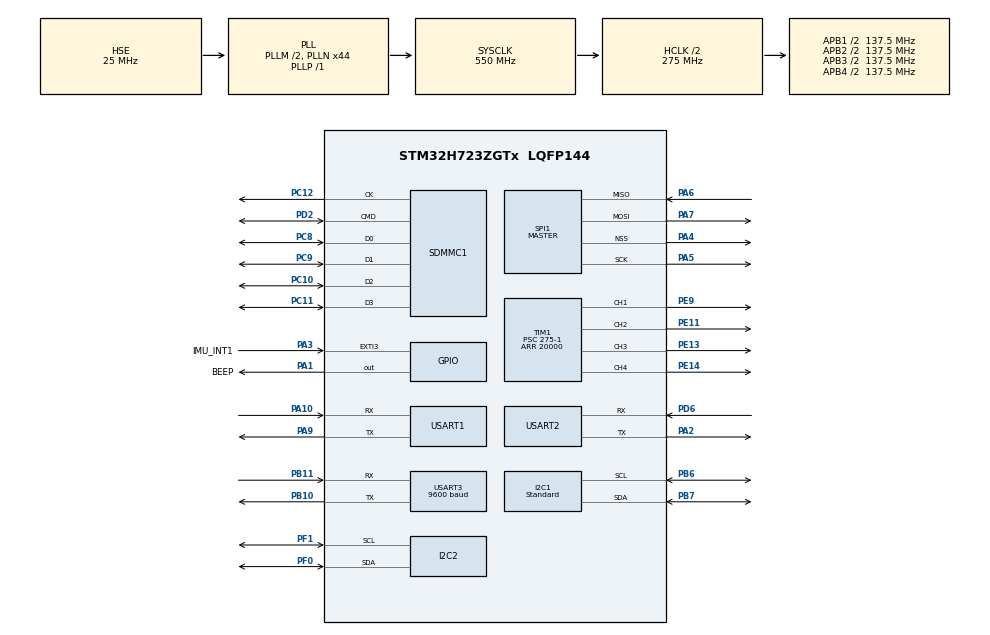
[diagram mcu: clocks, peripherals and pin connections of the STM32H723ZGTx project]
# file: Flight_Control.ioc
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CORTEX_M7.Enable_Spec=__NULL
CORTEX_M7.MPU_Control=__NULL
CORTEX_M7.default_mode_Activation=1
Dma.Request0=USART2_RX
Dma.Request1=USART3_RX
Dma.USART2_RX.0.Direction=DMA_PERIPH_TO_MEMORY
Dma.USART2_RX.0.EventEnable=DISABLE
Dma.USART2_RX.0.FIFOMode=DMA_FIFOMODE_DISABLE
Dma.USART2_RX.0.Instance=DMA1_Stream0
Dma.USART2_RX.0.MemDataAlignment=DMA_MDATAALIGN_BYTE
Dma.USART2_RX.0.MemInc=DMA_MINC_ENABLE
Dma.USART2_RX.0.Mode=DMA_NORMAL
Dma.USART2_RX.0.PeriphDataAlignment=DMA_PDATAALIGN_BYTE
Dma.USART2_RX.0.PeriphInc=DMA_PINC_DISABLE
Dma.USART2_RX.0.Polarity=HAL_DMAMUX_REQ_GEN_RISING
Dma.USART2_RX.0.Priority=DMA_PRIORITY_HIGH
Dma.USART2_RX.0.RequestNumber=1
Dma.USART2_RX.0.SignalID=NONE
Dma.USART2_RX.0.SyncEnable=DISABLE
Dma.USART2_RX.0.SyncPolarity=HAL_DMAMUX_SYNC_NO_EVENT
Dma.USART2_RX.0.SyncRequestNumber=1
Dma.USART2_RX.0.SyncSignalID=NONE
Dma.USART3_RX.1.Direction=DMA_PERIPH_TO_MEMORY
Dma.USART3_RX.1.EventEnable=DISABLE
Dma.USART3_RX.1.FIFOMode=DMA_FIFOMODE_DISABLE
Dma.USART3_RX.1.Instance=DMA1_Stream1
Dma.USART3_RX.1.MemDataAlignment=DMA_MDATAALIGN_BYTE
Dma.USART3_RX.1.MemInc=DMA_MINC_ENABLE
Dma.USART3_RX.1.Mode=DMA_NORMAL
Dma.USART3_RX.1.PeriphDataAlignment=DMA_PDATAALIGN_BYTE
Dma.USART3_RX.1.PeriphInc=DMA_PINC_DISABLE
Dma.USART3_RX.1.Polarity=HAL_DMAMUX_REQ_GEN_RISING
Dma.USART3_RX.1.Priority=DMA_PRIORITY_LOW
Dma.USART3_RX.1.RequestNumber=1
Dma.USART3_RX.1.SignalID=NONE
Dma.USART3_RX.1.SyncEnable=DISABLE
Dma.USART3_RX.1.SyncPolarity=HAL_DMAMUX_SYNC_NO_EVENT
Dma.USART3_RX.1.SyncRequestNumber=1
Dma.USART3_RX.1.SyncSignalID=NONE
FATFS._CODE_PAGE=936
FREERTOS.Tasks01=Task_Imu_Rd,48,1024,Imu_Read,Default,NULL,Dynamic,NULL,NULL;Task_Sen_Rd,24,1024,Sen_Read,Default,NULL,Dynamic,NULL,NULL;Task_Pos_Est,32,1536,Pos_Estimate,Default,NULL,Dynamic,NULL,NULL;Task_Att_Ctrl,40,2048,Att_Control,Default,NULL,Dynamic,NULL,NULL;Task_Rc_Parse,24,768,Rc_Parse,Default,NULL,Dynamic,NULL,NULL;Task_Log_Wrt,8,2048,Log_Write,Default,NULL,Dynamic,NULL,NULL;Task_Sys_Obs,8,512,Sys_Observe,Default,NULL,Dynamic,NULL,NULL
FREERTOS.configENABLE_FPU=1
FREERTOS.configTOTAL_HEAP_SIZE=65536
I2C1.CustomTiming=Enabled
I2C1.I2C_Speed_Mode=I2C_Standard
I2C1.Timing=0x602173
I2C2.CustomTiming=Enabled
I2C2.Timing=0x10707dbc
IWDG1.Prescaler=IWDG_PRESCALER_64
IWDG1.Reload=250
Mcu.Family=STM32H7
Mcu.Name=STM32H723ZGTx
Mcu.Package=LQFP144
NVIC.DMA1_Stream0_IRQn=true\:5\:0\:false\:false\:true\:true\:false\:true\:true
NVIC.DMA1_Stream1_IRQn=true\:5\:0\:false\:false\:true\:true\:false\:true\:true
NVIC.EXTI3_IRQn=true\:5\:0\:false\:false\:true\:true\:true\:true\:true
NVIC.PriorityGroup=NVIC_PRIORITYGROUP_4
NVIC.TIM7_IRQn=true\:15\:0\:false\:false\:true\:false\:false\:true\:true
NVIC.TimeBase=TIM7_IRQn
NVIC.TimeBaseIP=TIM7
NVIC.USART2_IRQn=true\:5\:0\:false\:false\:true\:true\:true\:true\:true
NVIC.USART3_IRQn=true\:5\:0\:false\:false\:true\:true\:true\:true\:true
PA1.GPIO_Label=BEEP
PA1.GPIO_PuPd=GPIO_PULLUP
PA1.Signal=GPIO_Output
PA10.Mode=Asynchronous
PA10.Signal=USART1_RX
PA13(JTMS/SWDIO).Mode=Serial_Wire
PA13(JTMS/SWDIO).Signal=DEBUG_JTMS-SWDIO
PA14(JTCK/SWCLK).Mode=Serial_Wire
PA14(JTCK/SWCLK).Signal=DEBUG_JTCK-SWCLK
PA2.Mode=Asynchronous
PA2.Signal=USART2_TX
PA3.GPIO_Label=IMU_INT1
PA3.Signal=GPXTI3
PA4.GPIO_Speed=GPIO_SPEED_FREQ_LOW
PA4.Mode=NSS_Signal_Hard_Output
PA4.Signal=SPI1_NSS
PA5.GPIO_Speed=GPIO_SPEED_FREQ_LOW
PA5.Mode=Full_Duplex_Master
PA5.Signal=SPI1_SCK
PA6.GPIO_Speed=GPIO_SPEED_FREQ_LOW
PA6.Mode=Full_Duplex_Master
PA6.Signal=SPI1_MISO
PA7.GPIO_Speed=GPIO_SPEED_FREQ_LOW
PA7.Mode=Full_Duplex_Master
PA7.Signal=SPI1_MOSI
PA9.Mode=Asynchronous
PA9.Signal=USART1_TX
PB10.Mode=Asynchronous
PB10.Signal=USART3_TX
PB11.Mode=Asynchronous
PB11.Signal=USART3_RX
PB6.GPIO_Pu=GPIO_PULLUP
PB6.GPIO_Speed=GPIO_SPEED_FREQ_VERY_HIGH
PB6.Mode=I2C
PB6.Signal=I2C1_SCL
PB7.GPIO_Pu=GPIO_PULLUP
PB7.GPIO_Speed=GPIO_SPEED_FREQ_VERY_HIGH
PB7.Mode=I2C
PB7.Signal=I2C1_SDA
PC10.Mode=SD_4_bits_Wide_bus
PC10.Signal=SDMMC1_D2
PC11.Mode=SD_4_bits_Wide_bus
PC11.Signal=SDMMC1_D3
PC12.Mode=SD_4_bits_Wide_bus
PC12.Signal=SDMMC1_CK
PC8.Mode=SD_4_bits_Wide_bus
PC8.Signal=SDMMC1_D0
PC9.Mode=SD_4_bits_Wide_bus
PC9.Signal=SDMMC1_D1
PD2.Mode=SD_4_bits_Wide_bus
PD2.Signal=SDMMC1_CMD
PD6.Mode=Asynchronous
PD6.Signal=USART2_RX
PE11.Signal=S_TIM1_CH2
PE13.Signal=S_TIM1_CH3
PE14.Signal=S_TIM1_CH4
PE9.Signal=S_TIM1_CH1
PF0.GPIO_Pu=GPIO_PULLUP
PF0.GPIO_Speed=GPIO_SPEED_FREQ_VERY_HIGH
PF0.Mode=I2C
PF0.Signal=I2C2_SDA
PF1.GPIO_Pu=GPIO_PULLUP
PF1.GPIO_Speed=GPIO_SPEED_FREQ_VERY_HIGH
PF1.Mode=I2C
PF1.Signal=I2C2_SCL
PH0-OSC_IN.Mode=HSE-External-Oscillator
PH0-OSC_IN.Signal=RCC_OSC_IN
PH1-OSC_OUT.Mode=HSE-External-Oscillator
PH1-OSC_OUT.Signal=RCC_OSC_OUT
ProjectManager.HeapSize=0x200
ProjectManager.StackSize=0x400
ProjectManager.TargetToolchain=CMake
RCC.ADCFreq_Value=50390625
RCC.APB1Freq_Value=137500000
RCC.APB2Freq_Value=137500000
RCC.APB3Freq_Value=137500000
RCC.APB4Freq_Value=137500000
RCC.CortexFreq_Value=550000000
RCC.D1PPRE=RCC_APB3_DIV2
RCC.D2PPRE1=RCC_APB1_DIV2
RCC.D2PPRE2=RCC_APB2_DIV2
RCC.D3PPRE=RCC_APB4_DIV2
RCC.DIVM1=2
RCC.DIVN1=44
RCC.DIVP1=1
RCC.DIVQ1=3
RCC.HCLKFreq_Value=275000000
RCC.HPRE=RCC_HCLK_DIV2
RCC.I2C123CLockSelection=RCC_I2C1235CLKSOURCE_HSI
RCC.PLLFRACN=0
RCC.PLLSourceVirtual=RCC_PLLSOURCE_HSE
RCC.SYSCLKFreq_VALUE=550000000
RCC.SYSCLKSource=RCC_SYSCLKSOURCE_PLLCLK
RCC.USBFreq_Value=183333333.33333334
SH.S_TIM1_CH1.0=TIM1_CH1,PWM Generation1 CH1
SH.S_TIM1_CH2.0=TIM1_CH2,PWM Generation2 CH2
SH.S_TIM1_CH3.0=TIM1_CH3,PWM Generation3 CH3
SH.S_TIM1_CH4.0=TIM1_CH4,PWM Generation4 CH4
SPI1.BaudRatePrescaler=SPI_BAUDRATEPRESCALER_16
SPI1.CalculateBaudRate=11.458333 MBits/s
SPI1.DataSize=SPI_DATASIZE_8BIT
SPI1.Direction=SPI_DIRECTION_2LINES
SPI1.Mode=SPI_MODE_MASTER
SPI1.NSSPMode=SPI_NSS_PULSE_DISABLE
SPI1.VirtualNSS=VM_NSSHARD
SPI1.VirtualType=VM_MASTER
TIM1.Channel-PWM\ Generation1\ CH1=TIM_CHANNEL_1
TIM1.Channel-PWM\ Generation2\ CH2=TIM_CHANNEL_2
TIM1.Channel-PWM\ Generation3\ CH3=TIM_CHANNEL_3
TIM1.Channel-PWM\ Generation4\ CH4=TIM_CHANNEL_4
TIM1.Period=20000
TIM1.Prescaler=275-1
TIM1.Pulse-PWM\ Generation1\ CH1=900
TIM1.Pulse-PWM\ Generation2\ CH2=900
TIM1.Pulse-PWM\ Generation3\ CH3=900
TIM1.Pulse-PWM\ Generation4\ CH4=900
USART1.VirtualMode-Asynchronous=VM_ASYNC
USART2.VirtualMode-Asynchronous=VM_ASYNC
USART3.BaudRate=9600
USART3.VirtualMode-Asynchronous=VM_ASYNC
VP_FATFS_VS_SDIO.Mode=SDIO
VP_FREERTOS_VS_CMSIS_V2.Mode=CMSIS_V2
VP_IWDG1_VS_IWDG.Mode=IWDG_Activate
VP_MEMORYMAP_VS_MEMORYMAP.Mode=CurAppReg
VP_SYS_VS_tim7.Mode=TIM7
VP_TIM1_VS_ClockSourceINT.Mode=Internal
board=custom

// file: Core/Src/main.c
/* USER CODE BEGIN Header */
/**
  ******************************************************************************
  * @file           : main.c
  * @brief          : Main program body
  ******************************************************************************
  * @attention
  *
  * Copyright (c) 2026 STMicroelectronics.
  * All rights reserved.
  *
  * This software is licensed under terms that can be found in the LICENSE file
  * in the root directory of this software component.
  * If no LICENSE file comes with this software, it is provided AS-IS.
  *
  ******************************************************************************
  */
/* USER CODE END Header */
#include "main.h"
#include "State.h"
#include "cmsis_os.h"
#include "dma.h"
#include "fatfs.h"
#include "i2c.h"
#include "iwdg.h"
#include "memorymap.h"
#include "sdmmc.h"
#include "spi.h"
#include "state.h"
#include "stm32h7xx_hal.h"
#include "tim.h"
#include "usart.h"
#include "gpio.h"

/* USER CODE BEGIN Includes */

#include "Config.h"
#include <stdio.h>

/* USER CODE END Includes */

/* USER CODE BEGIN PTD */

extern SemaphoreHandle_t xIMU_DataReady;
extern SemaphoreHandle_t xGPS_DataReady;
extern SemaphoreHandle_t xRC_DataReady;

/* USER CODE END PTD */

/* USER CODE BEGIN PV */

uint8_t RC_RxBuffer[36]   = {0};      //RC  DMA接收缓冲
uint8_t GPS_RxBuffer[256] = {0};      //GPS DMA接收缓冲

volatile uint16_t RC_RxLength  = 0;   //RC 本次接收长度
volatile uint16_t GPS_RxLength = 0;   //GPS本次接收长度

/* USER CODE END PV */

void SystemClock_Config(void);
void MX_FREERTOS_Init(void);

int main(void)
{

  /* MCU Configuration--------------------------------------------------------*/

  /* Reset of all peripherals, Initializes the Flash interface and the Systick. */
  HAL_Init();

  /* Configure the system clock */
  SystemClock_Config();

  /* Initialize all configured peripherals */
  MX_GPIO_Init();
  MX_DMA_Init();
  MX_IWDG1_Init();
  MX_SPI1_Init();
  MX_USART2_UART_Init();
  MX_SDMMC1_SD_Init();
  MX_TIM1_Init();
  MX_FATFS_Init();
  MX_USART1_UART_Init();
  MX_USART3_UART_Init();
  MX_I2C1_Init();
  MX_I2C2_Init();
  /* USER CODE BEGIN 2 */

  EvtBus_Init();
  Params_Init();    //初始化所有参数
  StateMachine_Init();

  //事件队列需在传感器初始化前创建，否则初始化期间发布的事件无法入队
  xEvent_Q = xQueueCreate(16,sizeof(evt_publish_t));

  RC_Init();
  IMU_Init();
  MAG_Init();
  BAR_Init();
  GPS_Init();
  PID_Init();
  Log_Init();
  Filter_Init(0.5f,0.01f);

  if(Log_Status.Ready)
  {
    Log_Open();
  }

  HAL_TIM_PWM_Start(&htim1,TIM_CHANNEL_1);
  HAL_TIM_PWM_Start(&htim1,TIM_CHANNEL_2);
  HAL_TIM_PWM_Start(&htim1,TIM_CHANNEL_3);
  HAL_TIM_PWM_Start(&htim1,TIM_CHANNEL_4);
  __HAL_TIM_MOE_ENABLE(&htim1);

  /* USER CODE END 2 */

  /* Init scheduler */
  osKernelInitialize();

  /* Call init function for freertos objects (in cmsis_os2.c) */
  MX_FREERTOS_Init();

  /* Start scheduler */
  osKernelStart();

  /* We should never get here as control is now taken by the scheduler */

  /* Infinite loop */
  while (1)
  {

  }
}

void SystemClock_Config(void)
{
  RCC_OscInitTypeDef RCC_OscInitStruct = {0};
  RCC_ClkInitTypeDef RCC_ClkInitStruct = {0};

  /** Supply configuration update enable
  */
  HAL_PWREx_ConfigSupply(PWR_LDO_SUPPLY);

  /** Configure the main internal regulator output voltage
  */
  __HAL_PWR_VOLTAGESCALING_CONFIG(PWR_REGULATOR_VOLTAGE_SCALE0);

  while(!__HAL_PWR_GET_FLAG(PWR_FLAG_VOSRDY)) {}

  /** Initializes the RCC Oscillators according to the specified parameters
  * in the RCC_OscInitTypeDef structure.
  */
  RCC_OscInitStruct.OscillatorType = RCC_OSCILLATORTYPE_HSI|RCC_OSCILLATORTYPE_LSI
                              |RCC_OSCILLATORTYPE_HSE;
  RCC_OscInitStruct.HSEState = RCC_HSE_ON;
  RCC_OscInitStruct.HSIState = RCC_HSI_DIV1;
  RCC_OscInitStruct.HSICalibrationValue = 64;
  RCC_OscInitStruct.LSIState = RCC_LSI_ON;
  RCC_OscInitStruct.PLL.PLLState = RCC_PLL_ON;
  RCC_OscInitStruct.PLL.PLLSource = RCC_PLLSOURCE_HSE;
  RCC_OscInitStruct.PLL.PLLM = 2;
  RCC_OscInitStruct.PLL.PLLN = 44;
  RCC_OscInitStruct.PLL.PLLP = 1;
  RCC_OscInitStruct.PLL.PLLQ = 3;
  RCC_OscInitStruct.PLL.PLLR = 2;
  RCC_OscInitStruct.PLL.PLLRGE = RCC_PLL1VCIRANGE_3;
  RCC_OscInitStruct.PLL.PLLVCOSEL = RCC_PLL1VCOWIDE;
  RCC_OscInitStruct.PLL.PLLFRACN = 0;
  if (HAL_RCC_OscConfig(&RCC_OscInitStruct) != HAL_OK)
  {
    Error_Handler();
  }

  /** Initializes the CPU, AHB and APB buses clocks
  */
  RCC_ClkInitStruct.ClockType = RCC_CLOCKTYPE_HCLK|RCC_CLOCKTYPE_SYSCLK
                              |RCC_CLOCKTYPE_PCLK1|RCC_CLOCKTYPE_PCLK2
                              |RCC_CLOCKTYPE_D3PCLK1|RCC_CLOCKTYPE_D1PCLK1;
  RCC_ClkInitStruct.SYSCLKSource = RCC_SYSCLKSOURCE_PLLCLK;
  RCC_ClkInitStruct.SYSCLKDivider = RCC_SYSCLK_DIV1;
  RCC_ClkInitStruct.AHBCLKDivider = RCC_HCLK_DIV2;
  RCC_ClkInitStruct.APB3CLKDivider = RCC_APB3_DIV2;
  RCC_ClkInitStruct.APB1CLKDivider = RCC_APB1_DIV2;
  RCC_ClkInitStruct.APB2CLKDivider = RCC_APB2_DIV2;
  RCC_ClkInitStruct.APB4CLKDivider = RCC_APB4_DIV2;

  if (HAL_RCC_ClockConfig(&RCC_ClkInitStruct, FLASH_LATENCY_3) != HAL_OK)
  {
    Error_Handler();
  }
}

/* USER CODE BEGIN 4 */

void HAL_UARTEx_RxEventCallback(UART_HandleTypeDef *huart,uint16_t Size)
{
	if(huart == &huart2)
	{
    RC_RxLength = Size;

		BaseType_t xHigherPriorityTaskWoken = pdFALSE;

    xSemaphoreGiveFromISR(xRC_DataReady,&xHigherPriorityTaskWoken);
    portYIELD_FROM_ISR(xHigherPriorityTaskWoken);
	}
  if(huart == &huart3)
	{
		GPS_RxLength = Size;

		BaseType_t xHigherPriorityTaskWoken = pdFALSE;

    xSemaphoreGiveFromISR(xGPS_DataReady,&xHigherPriorityTaskWoken);
    portYIELD_FROM_ISR(xHigherPriorityTaskWoken);
	}
}

void HAL_GPIO_EXTI_Callback(uint16_t GPIO_Pin)
{
	if(GPIO_Pin == IMU_INT1_Pin)
	{
		BaseType_t xHigherPriorityTaskWoken = pdFALSE;

		xSemaphoreGiveFromISR(xIMU_DataReady,&xHigherPriorityTaskWoken);
		portYIELD_FROM_ISR(xHigherPriorityTaskWoken);
	}
}

/* USER CODE END 4 */

void HAL_TIM_PeriodElapsedCallback(TIM_HandleTypeDef *htim)
{
  if (htim->Instance == TIM7) {
    HAL_IncTick();
  }
}

void Error_Handler(void)
{
  /* USER CODE BEGIN Error_Handler_Debug */
  /* User can add his own implementation to report the HAL error return state */
  __disable_irq();

  __HAL_TIM_SET_COMPARE(&htim1,TIM_CHANNEL_1,PWM_MIN);
  __HAL_TIM_SET_COMPARE(&htim1,TIM_CHANNEL_2,PWM_MIN);
  __HAL_TIM_SET_COMPARE(&htim1,TIM_CHANNEL_3,PWM_MIN);
  __HAL_TIM_SET_COMPARE(&htim1,TIM_CHANNEL_4,PWM_MIN);

  while (1)
  {
    /*ĺĽäšä¸ĺš˛ďźç­çĺŹ*/
  }
  /* USER CODE END Error_Handler_Debug */
}

#ifdef  USE_FULL_ASSERT
/**
  * @brief  Reports the name of the source file and the source line number
  *         where the assert_param error has occurred.
  * @param  file: pointer to the source file name
  * @param  line: assert_param error line source number
  * @retval None
  */
void assert_failed(uint8_t *file, uint32_t line)
{
  /* USER CODE BEGIN 6 */
  char msg[128];
  int n = snprintf(msg,sizeof(msg),"Assert failed: %s line %lu\r\n",file,(unsigned long)line);

  /* 通过USART1调试串口输出断言信息 */
  if(n > 0 && n < (int)sizeof(msg))
  {
    HAL_UART_Transmit(&huart1,(uint8_t*)msg,(uint16_t)n,HAL_MAX_DELAY);
  }

  /* 断言失败属于致命错误：强制电机停止并死循环等待复位 */
  __HAL_TIM_SET_COMPARE(&htim1,TIM_CHANNEL_1,PWM_MIN);
  __HAL_TIM_SET_COMPARE(&htim1,TIM_CHANNEL_2,PWM_MIN);
  __HAL_TIM_SET_COMPARE(&htim1,TIM_CHANNEL_3,PWM_MIN);
  __HAL_TIM_SET_COMPARE(&htim1,TIM_CHANNEL_4,PWM_MIN);

  __disable_irq();
  while (1)
  {
    /* 死循环，等待看门狗或人工复位 */
  }
  /* USER CODE END 6 */
}
#endif /* USE_FULL_ASSERT */

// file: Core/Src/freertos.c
/* USER CODE BEGIN Header */
/**
  ******************************************************************************
  * Author          : 王子恒
  * Description     : 飞控控制逻辑
  ******************************************************************************
**/
/* USER CODE END Header */

#include "FreeRTOS.h"
#include "EvtBus.h"
#include "State.h"
#include "projdefs.h"
#include "task.h"
#include "main.h"
#include "cmsis_os.h"

/* USER CODE BEGIN Includes */

#include "Config.h"

/* USER CODE END Includes */

/* USER CODE BEGIN PTD */

//数据就绪信号量
SemaphoreHandle_t xGPS_DataReady;
SemaphoreHandle_t xIMU_DataReady;
SemaphoreHandle_t xRC_DataReady;

//数据队列
QueueHandle_t     xLOG_DataQ;
QueueHandle_t     xGPS_DataQ;
QueueHandle_t     xIMU_DataQ;
QueueHandle_t     xMAG_DataQ;
QueueHandle_t     xBAR_DataQ;
QueueHandle_t     xRC_DataQ;

//事件队列
QueueHandle_t     xEvent_Q;

/* USER CODE END PTD */

/* USER CODE BEGIN Variables */

rc_raw_t RcRaw = {0};

float ThrottleOffset = 0;

//电机紧急停机标志（定义，Error.h中extern声明，由控制任务读取）
volatile uint8_t MotorStopCmd = 0;
//控制任务过载标志（供Sys_Observe监控复位）
volatile uint8_t ExecOverrun = 0;

//超时计数器
static uint16_t Rc_Timeout  = 0;
static uint16_t Gps_Timeout = 0;
static uint16_t Imu_Timeout = 0;
static uint16_t Mag_Timeout = 0;
static uint16_t Bar_Timeout = 0;
static uint16_t Sensors_Timeout = 0;

/* USER CODE END Variables */
/* Definitions for Task_Imu_Rd */
osThreadId_t Task_Imu_RdHandle;
const osThreadAttr_t Task_Imu_Rd_attributes = {
  .name = "Task_Imu_Rd",
  .stack_size = 1024 * 4,
  .priority = (osPriority_t) osPriorityRealtime,
};
/* Definitions for Task_Sen_Rd */
osThreadId_t Task_Sen_RdHandle;
const osThreadAttr_t Task_Sen_Rd_attributes = {
  .name = "Task_Sen_Rd",
  .stack_size = 1024 * 4,
  .priority = (osPriority_t) osPriorityNormal,
};
/* Definitions for Task_Pos_Est */
osThreadId_t Task_Pos_EstHandle;
const osThreadAttr_t Task_Pos_Est_attributes = {
  .name = "Task_Pos_Est",
  .stack_size = 1536 * 4,
  .priority = (osPriority_t) osPriorityAboveNormal,
};
/* Definitions for Task_Att_Ctrl */
osThreadId_t Task_Att_CtrlHandle;
const osThreadAttr_t Task_Att_Ctrl_attributes = {
  .name = "Task_Att_Ctrl",
  .stack_size = 2048 * 4,
  .priority = (osPriority_t) osPriorityHigh,
};
/* Definitions for Task_Rc_Parse */
osThreadId_t Task_Rc_ParseHandle;
const osThreadAttr_t Task_Rc_Parse_attributes = {
  .name = "Task_Rc_Parse",
  .stack_size = 768 * 4,
  .priority = (osPriority_t) osPriorityNormal,
};
/* Definitions for Task_Log_Wrt */
osThreadId_t Task_Log_WrtHandle;
const osThreadAttr_t Task_Log_Wrt_attributes = {
  .name = "Task_Log_Wrt",
  .stack_size = 2048 * 4,
  .priority = (osPriority_t) osPriorityLow,
};
/* Definitions for Task_Sys_Obs */
osThreadId_t Task_Sys_ObsHandle;
const osThreadAttr_t Task_Sys_Obs_attributes = {
  .name = "Task_Sys_Obs",
  .stack_size = 512 * 4,
  .priority = (osPriority_t) osPriorityLow,
};
/* Definitions for Task_EvtBus_Handler */
osThreadId_t Task_EvtBus_HandlerHandle;
const osThreadAttr_t Task_EvtBus_Handler_attributes = {
  .name = "Task_EvtBus_Handler",
  .stack_size = 512 * 4,
  .priority = (osPriority_t) osPriorityAboveNormal,
};

void Imu_Read(void *argument);
void Sen_Read(void *argument);
void Pos_Estimate(void *argument);
void Att_Control(void *argument);
void Rc_Parse(void *argument);
void Log_Write(void *argument);
void Sys_Observe(void *argument);
void EvtBus_Handler(void *argument);

void MX_FREERTOS_Init(void); /* (MISRA C 2004 rule 8.1) */

void MX_FREERTOS_Init(void) {

  /* USER CODE BEGIN RTOS_SEMAPHORES */

  //创建信号量
  xRC_DataReady  = xSemaphoreCreateBinary();
  xIMU_DataReady = xSemaphoreCreateBinary();
  xGPS_DataReady = xSemaphoreCreateBinary();

  /* USER CODE END RTOS_SEMAPHORES */

  /* USER CODE BEGIN RTOS_QUEUES */

  //创建队列
  xRC_DataQ  = xQueueCreate(1,sizeof(rc_data_t));
  xIMU_DataQ = xQueueCreate(1,sizeof(imu_raw_t));
  xMAG_DataQ = xQueueCreate(1,sizeof(mag_data_t));
  xGPS_DataQ = xQueueCreate(1,sizeof(gps_data_t));
  xBAR_DataQ = xQueueCreate(1,sizeof(bar_data_t));
  xLOG_DataQ = xQueueCreate(256,sizeof(log_data_t));
  //xEvent_Q 已在 main.c 传感器初始化前创建（此处不再重复创建）

  /* USER CODE END RTOS_QUEUES */

  /* Create the thread(s) */
  /* creation of Task_Imu_Rd */
  Task_Imu_RdHandle = osThreadNew(Imu_Read, NULL, &Task_Imu_Rd_attributes);

  /* creation of Task_Sen_Rd */
  Task_Sen_RdHandle = osThreadNew(Sen_Read, NULL, &Task_Sen_Rd_attributes);

  /* creation of Task_Pos_Est */
  Task_Pos_EstHandle = osThreadNew(Pos_Estimate, NULL, &Task_Pos_Est_attributes);

  /* creation of Task_Att_Ctrl */
  Task_Att_CtrlHandle = osThreadNew(Att_Control, NULL, &Task_Att_Ctrl_attributes);

  /* creation of Task_Rc_Parse */
  Task_Rc_ParseHandle = osThreadNew(Rc_Parse, NULL, &Task_Rc_Parse_attributes);

  /* creation of Task_Log_Wrt */
  Task_Log_WrtHandle = osThreadNew(Log_Write, NULL, &Task_Log_Wrt_attributes);

  /* creation of Task_Sys_Obs */
  Task_Sys_ObsHandle = osThreadNew(Sys_Observe, NULL, &Task_Sys_Obs_attributes);

  /* creation of Task_EvtBus_Handler */
  Task_EvtBus_HandlerHandle = osThreadNew(EvtBus_Handler, NULL, &Task_EvtBus_Handler_attributes);

}

/* USER CODE BEGIN Header_Imu_Read */
/**
  * @brief  IMU数据处理函数
  * @param  argument: Not used
  * @retval None
  */
/* USER CODE END Header_Imu_Read */
void Imu_Read(void *argument)
{
  /* USER CODE BEGIN Imu_Read */
  (void)argument;

  uint16_t  Cnt = 0;
  imu_raw_t ImuRaw = {0};

  for(;;)
  {
    int32_t AccSum[3]  = {0};
    int32_t GyroSum[3] = {0};

    xSemaphoreTake(xIMU_DataReady,portMAX_DELAY);
    inv_imu_get_frame_count(&IMU,&Cnt);

    //转换为帧
    Cnt = Cnt/16;
    if(Cnt == 0)
    {
      inv_imu_flush_fifo(&IMU);
      continue;
    }
    if(Cnt < 3 || Cnt > 10)
    {
      inv_imu_flush_fifo(&IMU);
      continue;
    }

    for(int i = 0;i < Cnt;i ++)
    {
      inv_imu_get_fifo_frame(&IMU,&FIFO_Data);

      AccSum[0] += FIFO_Data.byte_16.accel_data[0];
      AccSum[1] += FIFO_Data.byte_16.accel_data[1];
      AccSum[2] += FIFO_Data.byte_16.accel_data[2];

      GyroSum[0] += FIFO_Data.byte_16.gyro_data[0];
      GyroSum[1] += FIFO_Data.byte_16.gyro_data[1];
      GyroSum[2] += FIFO_Data.byte_16.gyro_data[2];
    }

    ImuRaw.Acc[0] = AccSum[0]/Cnt;
    ImuRaw.Acc[1] = AccSum[1]/Cnt;
    ImuRaw.Acc[2] = AccSum[2]/Cnt;

    ImuRaw.Gyro[0] = GyroSum[0]/Cnt;
    ImuRaw.Gyro[1] = GyroSum[1]/Cnt;
    ImuRaw.Gyro[2] = GyroSum[2]/Cnt;

    xQueueOverwrite(xIMU_DataQ,&ImuRaw);
  }
  /* USER CODE END Imu_Read */
}

/* USER CODE BEGIN Header_Sen_Read */
/**
* @brief  sensor数据处理函数
* @param  argument: Not used
* @retval None
*/
/* USER CODE END Header_Sen_Read */
void Sen_Read(void *argument)
{
  /* USER CODE BEGIN Sen_Read */
  (void)argument;

  uint8_t Magcnt = 0;
  uint8_t Barcnt = 0;

  TickType_t xLastWakeTime = xTaskGetTickCount();

  for(;;)
  {
    vTaskDelayUntil(&xLastWakeTime,pdMS_TO_TICKS(SEN_READ_DT));

//读取GPS数据并入队
    if(xSemaphoreTake(xGPS_DataReady,0) == pdTRUE)
    {
      Gps_Timeout = 0;
      GPS_Parse(GPS_RxBuffer,GPS_RxLength);
      GPS_Init();
      //Gps数据ready 发布至事件总线
      EvtBus_Publish(&(evt_publish_t){.ID = EVT_GPS_DATA_READY});
    }
    else
    {
      if((++ Gps_Timeout) > GPS_TIMEOUT_THRESHOLD)
      {
        EvtBus_Publish(&(evt_publish_t){.ID = EVT_GPS_ERROR});
      }
    }

//读取磁力计数据并入队
    if((++ Magcnt) >= MAG_READ_DIV)
    {
      int result = MAG_Parse();
      if(result == RET_OK)
      {
        Mag_Timeout = 0;
        //Mag数据ready 发布至事件总线
        EvtBus_Publish(&(evt_publish_t){.ID = EVT_MAG_DATA_READY});
      }
      else if(result == RET_BUSY)
      {
        if((++ Mag_Timeout) >= MAG_TIMEOUT_THRESHOLD)
        {
          EvtBus_Publish(&(evt_publish_t){.ID = EVT_MAG_ERROR});
        }
      }
      else
      {
        EvtBus_Publish(&(evt_publish_t){.ID = EVT_MAG_ERROR});
      }
      Magcnt = 0;
    }

//读取气压计数据并入队
    if((++ Barcnt) >= BAR_READ_DIV)
    {
      if(BAR_Read() == LPS22HH_OK)
      {
        Bar_Timeout = 0;
        //Bar数据ready 发布至事件总线
        EvtBus_Publish(&(evt_publish_t){.ID = EVT_BAR_DATA_READY});
      }
      else
      {
        if((++ Bar_Timeout) >= BAR_TIMEOUT_THRESHOLD)
        {
          EvtBus_Publish(&(evt_publish_t){.ID = EVT_BAR_ERROR});
        }
      }
      Barcnt = 0;
    }

//添加其它传感器

  }
  /* USER CODE END Sen_Read */
}

/* USER CODE BEGIN Header_Pos_Estimate */
/**
* @brief  系统位置数据处理函数
* @param  argument: Not used
* @retval None
*/
/* USER CODE END Header_Pos_Estimate */
void Pos_Estimate(void *argument)
{
  /* USER CODE BEGIN Pos_Estimate */
  (void)argument;

  rc_data_t  RcData  = {0};
  bar_data_t BarData = {0};
  state_t    CurrentState;

  float TargetAlt  = 0.0f;    //目标高度（相对）
  float CurrentAlt = 0.0f;    //当前高度（相对）

  TickType_t xLastWakeTime = xTaskGetTickCount();

  for(;;)
  {
    vTaskDelayUntil(&xLastWakeTime,pdMS_TO_TICKS(POS_EST_DT));
    if(xQueuePeek(xBAR_DataQ,&BarData,0) != pdTRUE) continue;

    CurrentAlt = BarData.Alt - Result.HomeAlt;

    CurrentState = Get_CurrentState();
    if(CurrentState == STATE_FLYING)
    {
      if(xQueuePeek(xRC_DataQ,&RcData,0) == pdTRUE)
      {
        float Throttle = RcData.Throttle - 0.5f;
        //上升
        if((RcData.Throttle > PARAMS.Height_Control.Deadzone_High || RcData.Throttle < PARAMS.Height_Control.Deadzone_Low) && TargetAlt >= PARAMS.Height_Control.Min_Height && TargetAlt <= PARAMS.Height_Control.Max_Height)
        {
          TargetAlt += Throttle*PARAMS.Height_Control.Target_Rate;
        }
        else
        {
          TargetAlt = CurrentAlt;
        }
        TargetAlt = CLAMP(TargetAlt, PARAMS.Height_Control.Min_Height, PARAMS.Height_Control.Max_Height);
      }

      PID_Altitude.Target = TargetAlt;
      PID_Altitude.Actual = CurrentAlt;
      float TargetSpeed = PID_Calculate(&PID_Altitude,POS_EST_DT);

      PID_Velocity.Target = TargetSpeed;
      PID_Velocity.Actual = 0.0f;
      ThrottleOffset = PID_Calculate(&PID_Velocity,POS_EST_DT);

      ThrottleOffset = CLAMP(ThrottleOffset,-PARAMS.Velocity.OutLimit,PARAMS.Velocity.OutLimit);
    }
    else
    {
      ThrottleOffset = 0.0f;
    }
  }
  /* USER CODE END Pos_Estimate */
}

/* USER CODE BEGIN Header_Att_Control */
/**
  * @brief  系统总体数据处理函数（状态机驱动）
  * @param  argument: Not used
  * @retval None
  */
/* USER CODE END Header_Att_Control */
void Att_Control(void *argument)
{
  /* USER CODE BEGIN Att_Control */
  (void)argument;

  rc_data_t  RcData  = {0};     //RC 缩放数据
  imu_raw_t  ImuRaw  = {0};     //IMU原始数据
  imu_data_t ImuData = {0};     //IMU缩放数据
  mag_data_t MagData = {0};     //MAG缩放数据

  TickType_t xCurrentTime;
  TickType_t xLastWakeTime = xTaskGetTickCount();     //上次任务唤醒时刻

  for(;;)
  {
    //固定1KHz调度
    vTaskDelayUntil(&xLastWakeTime, pdMS_TO_TICKS(1));
    xCurrentTime = xTaskGetTickCount();

    if(Get_CurrentState() == STATE_FLYING)      //正常飞行中
    {
      if(MotorStopCmd == 1)                     //紧急停机指令有效，保持电机停止
      {
        __HAL_TIM_SET_COMPARE(&htim1,TIM_CHANNEL_1,PWM_MIN);
        __HAL_TIM_SET_COMPARE(&htim1,TIM_CHANNEL_2,PWM_MIN);
        __HAL_TIM_SET_COMPARE(&htim1,TIM_CHANNEL_3,PWM_MIN);
        __HAL_TIM_SET_COMPARE(&htim1,TIM_CHANNEL_4,PWM_MIN);
      }
      else if(xQueueReceive(xIMU_DataQ,&ImuRaw,0) == pdTRUE)       //获取IMU数据
      {
        Imu_Timeout = 0;

        //原始数据缩放为物理量
        ImuData.Ax = ImuRaw.Acc[0]*ACC_SCALE;
        ImuData.Ay = ImuRaw.Acc[1]*ACC_SCALE;
        ImuData.Az = ImuRaw.Acc[2]*ACC_SCALE;

        ImuData.Gx = ImuRaw.Gyro[0]*GYRO_SCALE;
        ImuData.Gy = ImuRaw.Gyro[1]*GYRO_SCALE;
        ImuData.Gz = ImuRaw.Gyro[2]*GYRO_SCALE;

        if(xQueuePeek(xMAG_DataQ,&MagData,0) != pdTRUE)      //获取MAG数据
        {
          MagData.Mx = 0.0f;
          MagData.My = 0.0f;
          MagData.Mz = 0.0f;
        }

        //姿态解算
        Filter_Update(ImuData.Ax, ImuData.Ay, ImuData.Az,
                      ImuData.Gx, ImuData.Gy, ImuData.Gz,
                      MagData.Mx, MagData.My, MagData.Mz,
                      ATT_CTRL_DT);

        /** 获取RC数据并校验时效 **/
        if(xQueuePeek(xRC_DataQ,&RcData,0) == pdTRUE && (xCurrentTime - RcData.TimeStamp) < pdMS_TO_TICKS(200))
        {
          /*** 外环：角度PID ***/
          PID_Angle_Yaw.Target   = RcData.Yaw_Target;
          PID_Angle_Yaw.Actual   = Att.Yaw;
          float Rate_Yaw_Target  = PID_Calculate(&PID_Angle_Yaw, ATT_CTRL_DT);

          PID_Angle_Roll.Target  = RcData.Roll_Target;
          PID_Angle_Roll.Actual  = Att.Roll;
          float Rate_Roll_Target = PID_Calculate(&PID_Angle_Roll, ATT_CTRL_DT);

          PID_Angle_Pitch.Target = RcData.Pitch_Target;
          PID_Angle_Pitch.Actual = Att.Pitch;
          float Rate_Pitch_Target = PID_Calculate(&PID_Angle_Pitch, ATT_CTRL_DT);

          /*** 内环：角速度PID ***/
          PID_Rate_Yaw.Target    = Rate_Yaw_Target;
          PID_Rate_Yaw.Actual    = ImuData.Gz;
          float Out_Yaw          = PID_Calculate(&PID_Rate_Yaw, ATT_CTRL_DT);

          PID_Rate_Roll.Target   = Rate_Roll_Target;
          PID_Rate_Roll.Actual   = ImuData.Gx;
          float Out_Roll         = PID_Calculate(&PID_Rate_Roll, ATT_CTRL_DT);

          PID_Rate_Pitch.Target  = Rate_Pitch_Target;
          PID_Rate_Pitch.Actual  = ImuData.Gy;
          float Out_Pitch        = PID_Calculate(&PID_Rate_Pitch, ATT_CTRL_DT);

          //应用高度修正，得到最终油门
          float Throttle = CLAMP(RcData.Throttle + ThrottleOffset,0.0f,1.0f);
          float BasePwm  = PWM_MIN + Throttle * PWM_RANGE;
          float BaseCorr = 0.5f * Throttle * PWM_RANGE;

          //X型四轴混控
          float M1_Corr = ( Out_Roll + Out_Pitch - Out_Yaw)*BaseCorr*PID_NORM;
          float M2_Corr = (-Out_Roll + Out_Pitch + Out_Yaw)*BaseCorr*PID_NORM;
          float M3_Corr = ( Out_Roll - Out_Pitch - Out_Yaw)*BaseCorr*PID_NORM;
          float M4_Corr = (-Out_Roll - Out_Pitch + Out_Yaw)*BaseCorr*PID_NORM;

          uint16_t Pwm1 = (uint16_t)(BasePwm + M1_Corr);
          uint16_t Pwm2 = (uint16_t)(BasePwm + M2_Corr);
          uint16_t Pwm3 = (uint16_t)(BasePwm + M3_Corr);
          uint16_t Pwm4 = (uint16_t)(BasePwm + M4_Corr);

          //钳位输出
          __HAL_TIM_SET_COMPARE(&htim1,TIM_CHANNEL_1,CLAMP(Pwm1,PWM_MIN,PWM_MAX));
          __HAL_TIM_SET_COMPARE(&htim1,TIM_CHANNEL_2,CLAMP(Pwm2,PWM_MIN,PWM_MAX));
          __HAL_TIM_SET_COMPARE(&htim1,TIM_CHANNEL_3,CLAMP(Pwm3,PWM_MIN,PWM_MAX));
          __HAL_TIM_SET_COMPARE(&htim1,TIM_CHANNEL_4,CLAMP(Pwm4,PWM_MIN,PWM_MAX));
        }
        else
        {
          //RC 数据无效
          MOTOR_Stop();

          PID_Rate_Yaw.ErrorInt   = 0.0f;
          PID_Rate_Roll.ErrorInt  = 0.0f;
          PID_Rate_Pitch.ErrorInt = 0.0f;

          PID_Angle_Roll.ErrorInt = 0.0f;
          PID_Angle_Pitch.ErrorInt= 0.0f;
        }
      }
      else
      {
        //IMU数据超时
        if((++ Imu_Timeout) > IMU_TIMEOUT_THRESHOLD)
        {
          EvtBus_Publish(&(evt_publish_t){.ID = EVT_IMU_ERROR});
          Imu_Timeout = 0;
        }
      }
    }
    else
    {
      MOTOR_Stop();
    }
    //喂狗
    HAL_IWDG_Refresh(&hiwdg1);

    //1KHz周期监测：单次执行超过1ms则置位过载标志（供Sys_Observe监控）
    if((xTaskGetTickCount() - xCurrentTime) > pdMS_TO_TICKS(1))
    {
      ExecOverrun = 1;
    }
  }
  /* USER CODE END Att_Control */
}

/* USER CODE BEGIN Header_Rc_Parse */
/**
* @brief  系统遥控数据处理函数
* @param  argument: Not used
* @retval None
*/
/* USER CODE END Header_Rc_Parse */
void Rc_Parse(void *argument)
{
  /* USER CODE BEGIN Rc_Parse */
  (void)argument;

  rc_data_t RcData = {0};

  for(;;)
  {
    if(xSemaphoreTake(xRC_DataReady,pdMS_TO_TICKS(RC_PARSE_DT)) == pdTRUE)
    {
      Rc_Timeout = 0;

      RC_Parse(RC_RxBuffer,RC_RxLength,&RcRaw);

      RcData.Throttle     = RcRaw.Left_Y/100.0f;
      RcData.TimeStamp    = xTaskGetTickCount();

      RcData.Yaw_Target   = RcRaw.Left_X *PARAMS.Attitude_Control.Yaw_Scale  *RAD;
      RcData.Roll_Target  = RcRaw.Right_X*PARAMS.Attitude_Control.Roll_Scale *RAD;
      RcData.Pitch_Target = RcRaw.Right_Y*PARAMS.Attitude_Control.Pitch_Scale*RAD;

      //外八
      if(RcRaw.Left_X > LOCK_X_THRESHOLD && RcRaw.Right_X < -LOCK_X_THRESHOLD && RcRaw.Left_Y/100.0f < LOCK_Y_THRESHOLD)
      {
        EvtBus_Publish(&(evt_publish_t){.ID = EVT_ARM_GESTURE});
      }
      //内八
      if(RcRaw.Left_X < -LOCK_X_THRESHOLD && RcRaw.Right_X > LOCK_X_THRESHOLD && RcRaw.Left_Y/100.0f < LOCK_Y_THRESHOLD)
      {
        EvtBus_Publish(&(evt_publish_t){.ID = EVT_DISARM_GESTURE});
      }

      xQueueOverwrite(xRC_DataQ,&RcData);
      RC_Init();
    }
    else
    {
      if((++ Rc_Timeout) > RC_TIMEOUT_THRESHOLD)
      {
        EvtBus_Publish(&(evt_publish_t){.ID = EVT_RC_LOST});
        Rc_Timeout = 0;
      }
    }
  }
  /* USER CODE END Rc_Parse */
}

/* USER CODE BEGIN Header_Log_Write */
/**
* @brief  系统日志处理函数
* @param  argument: Not used
* @retval None
*/
/* USER CODE END Header_Log_Write */
void Log_Write(void *argument)
{
  /* USER CODE BEGIN Log_Write */
  (void)argument;

  log_data_t LogData = {0};
  TickType_t xLastWakeTime = xTaskGetTickCount();

  for(;;)
  {
    vTaskDelayUntil(&xLastWakeTime,pdMS_TO_TICKS(LOG_WRITE_DT));

    if(xQueueReceive(xLOG_DataQ,&LogData,0) == pdTRUE)
    {
      Log_Save(&LogData);
    }
    else
    {
      //无新数据时同步缓冲区到SD卡
      Log_Sync();
    }
  }
  /* USER CODE END Log_Write */
}

/* USER CODE BEGIN Header_Sys_Observe */
/**
* @brief  系统健康监测函数
* @param  argument: Not used
* @retval None
*/
/* USER CODE END Header_Sys_Observe */
void Sys_Observe(void *argument)
{
  /* USER CODE BEGIN Sys_Observe */
  (void)argument;

  uint16_t HealthTick  = 0;    //健康状态上报周期计数

  for(;;)
  {
    //传感器初始化超时监控
    if(Get_CurrentState() == STATE_UNINIT)
    {
      if(HW_AllReady() == true)
      {
        Sensors_Timeout = 0;
      }
      else if((++ Sensors_Timeout) >= SENSORS_TIMEOUT_THRESHOLD)
      {
        EvtBus_Publish(&(evt_publish_t){.ID = EVT_SENSORS_ERROR});
        Sensors_Timeout = 0;
      }
    }

    //系统健康度监测：控制任务过载告警，复位过载标志
    if(ExecOverrun == 1)
    {
      ExecOverrun = 0;
      //过载告警，可在此接入LED/蜂鸣器提示
    }

    if((++ HealthTick) >= SYS_OBS_DT)
    {
      HealthTick = 0;
      //周期性健康检查：可在此扩展电池电压/堆栈水位等监测项
    }

    osDelay(10);
  }
  /* USER CODE END Sys_Observe */
}

/* USER CODE BEGIN Header_EvtBus_Handler */
/**
* @brief  事件总线分发任务
* @param  argument: Not used
* @retval None
*/
/* USER CODE END Header_EvtBus_Handler */
void EvtBus_Handler(void *argument)
{
  /* USER CODE BEGIN EvtBus_Handler */
  (void)argument;

  evt_publish_t Event;

  for(;;)
  {
    //阻塞等待事件，取出后按事件ID分发至订阅回调
    if(xQueueReceive(xEvent_Q,&Event,portMAX_DELAY) == pdTRUE)
    {
      EvtBus_Dispatch(&Event);
    }
  }
  /* USER CODE END EvtBus_Handler */
}
